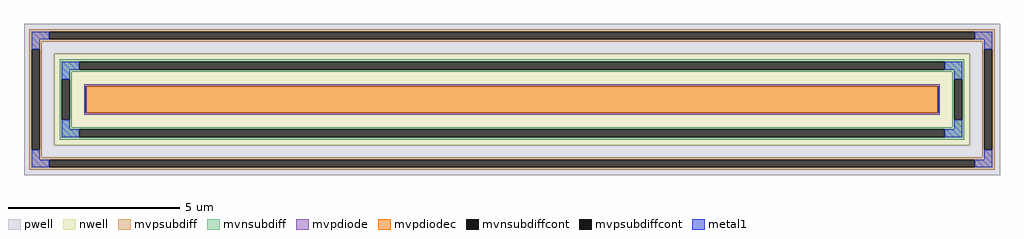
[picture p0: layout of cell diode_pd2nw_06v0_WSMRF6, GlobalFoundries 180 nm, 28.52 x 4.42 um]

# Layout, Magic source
magic
tech gf180mcuD
magscale 1 10
<< nwell >>
rect -2676 -266 2676 266
<< pwell >>
rect -2852 266 2852 442
rect -2852 -266 -2676 266
rect 2676 -266 2852 266
rect -2852 -442 2852 -266
<< mvpsubdiff >>
rect -2820 397 2820 410
rect -2820 351 -2704 397
rect 2704 351 2820 397
rect -2820 338 2820 351
rect -2820 294 -2748 338
rect -2820 -294 -2807 294
rect -2761 -294 -2748 294
rect 2748 294 2820 338
rect -2820 -338 -2748 -294
rect 2748 -294 2761 294
rect 2807 -294 2820 294
rect 2748 -338 2820 -294
rect -2820 -351 2820 -338
rect -2820 -397 -2704 -351
rect 2704 -397 2820 -351
rect -2820 -410 2820 -397
<< mvnsubdiff >>
rect -2644 221 2644 234
rect -2644 175 -2528 221
rect 2528 175 2644 221
rect -2644 162 2644 175
rect -2644 118 -2572 162
rect -2644 -118 -2631 118
rect -2585 -118 -2572 118
rect 2572 118 2644 162
rect -2644 -162 -2572 -118
rect 2572 -118 2585 118
rect 2631 -118 2644 118
rect 2572 -162 2644 -118
rect -2644 -175 2644 -162
rect -2644 -221 -2528 -175
rect 2528 -221 2644 -175
rect -2644 -234 2644 -221
<< mvpsubdiffcont >>
rect -2704 351 2704 397
rect -2807 -294 -2761 294
rect 2761 -294 2807 294
rect -2704 -397 2704 -351
<< mvnsubdiffcont >>
rect -2528 175 2528 221
rect -2631 -118 -2585 118
rect 2585 -118 2631 118
rect -2528 -221 2528 -175
<< mvpdiode >>
rect -2500 77 2500 90
rect -2500 -77 -2487 77
rect 2487 -77 2500 77
rect -2500 -90 2500 -77
<< mvpdiodec >>
rect -2487 -77 2487 77
<< metal1 >>
rect -2807 351 -2704 397
rect 2704 351 2807 397
rect -2807 294 -2761 351
rect 2761 294 2807 351
rect -2631 175 -2528 221
rect 2528 175 2631 221
rect -2631 118 -2585 175
rect 2585 118 2631 175
rect -2498 -77 -2487 77
rect 2487 -77 2498 77
rect -2631 -175 -2585 -118
rect 2585 -175 2631 -118
rect -2631 -221 -2528 -175
rect 2528 -221 2631 -175
rect -2807 -351 -2761 -294
rect 2761 -351 2807 -294
rect -2807 -397 -2704 -351
rect 2704 -397 2807 -351
<< properties >>
string FIXED_BBOX -2608 -198 2608 198
string gencell diode_pd2nw_06v0
string library gf180mcu
string parameters w 25 l 0.9 area 22.5 peri 51.8 nx 1 ny 1 dummy 0 lmin 0.45 wmin 0.45 class diode elc 1 erc 1 etc 1 ebc 1 glc 1 grc 1 gtc 1 gbc 1 doverlap 0 full_metal 1 compatible {diode_pd2nw_03v3 diode_pd2nw_06v0}
<< end >>
